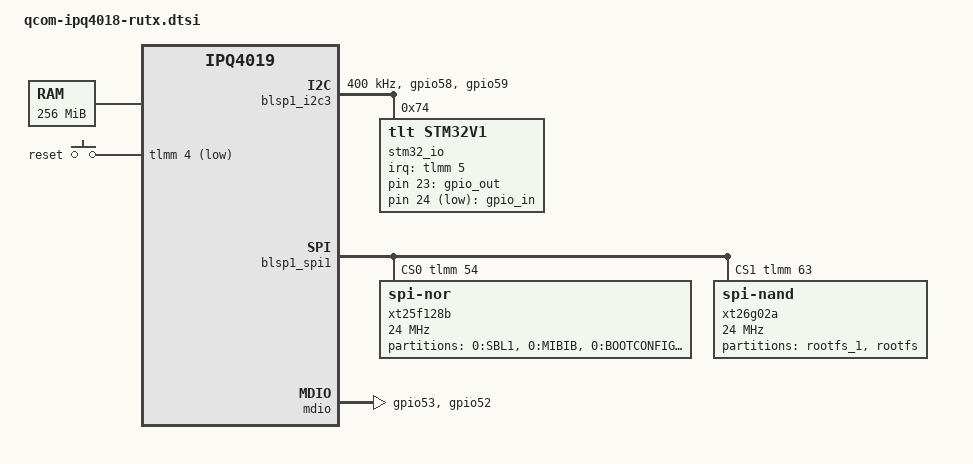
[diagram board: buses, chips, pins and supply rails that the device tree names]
// SPDX-License-Identifier: GPL-2.0-or-later OR MIT

#include "qcom-ipq4019-ap.dk01.1.dtsi"

#include <dt-bindings/gpio/gpio.h>
#include <dt-bindings/input/input.h>

/ {
	aliases {
		label-mac-device = &gmac0;
	};

	memory {
		device_type = "memory";
		reg = <0x80000000 0x10000000>;
	};

	soc {
		pinctrl@1000000 {
			mdio_pins: mdio_pinmux {
				mux_1 {
					pins = "gpio53";
					function = "mdio";
					bias-pull-up;
				};
				mux_2 {
					pins = "gpio52";
					function = "mdc";
					bias-pull-up;
				};
			};

			i2c_0_pins: i2c_0_pinmux {
				mux {
					pins = "gpio58", "gpio59";
					function = "blsp_i2c0";
					bias-disable;
				};
			};
		};

		keys {
			compatible = "gpio-keys";

			reset {
				label = "reset";
				gpios = <&tlmm 4 1>;
				linux,code = <KEY_RESTART>;
			};
		};

		gpio_export {
			compatible = "gpio-export";
			#size-cells = <0>;

			gpio_out {
				gpio-export,name = "gpio_out";
				gpio-export,output = <0>;
				gpio-export,direction_may_change = <0>;
				gpios = <&stm32_io 23 GPIO_ACTIVE_HIGH>;
			};

			gpio_in {
				gpio-export,name = "gpio_in";
				gpio-export,input = <0>;
				gpio-export,direction_may_change = <0>;
				gpios = <&stm32_io 24 GPIO_ACTIVE_LOW>;
			};
		};
	};
};

&blsp1_i2c3 {
	status = "okay";
	pinctrl-0 = <&i2c_0_pins>;
	pinctrl-names = "default";
	clock-frequency = <400000>;

	stm32_io: stm32@74 {
		compatible = "tlt,stm32v1";
		#gpio-cells = <2>;
		#interrupt-cells = <2>;
		gpio-controller;
		interrupt-controller;
		interrupt-parent = <&tlmm>;
		interrupts = <5 2>;
		reg = <0x74>;
	};
};

&blsp1_spi1 {
	cs-gpios = <&tlmm 54 0>, <&tlmm 63 0>;
	num-cs = <2>;

	xt25f128b@0 {
		/*
		 * Factory U-boot looks in 0:BOOTCONFIG partition for active
		 * partitions settings and mangles the partition config so
		 * 0:QSEE/0:QSEE_1, 0:CDT/0:CDT_1 and  0:APPSBL/0:APPSBL_1 pairs
		 * can be swaped. It isn't a problem but we never can be sure where
		 * OFW put factory images. "n25q128a11" is required for proper nor
		 * recognition in u-boot.
		 */
		compatible = "jedec,spi-nor", "n25q128a11";
		#address-cells = <1>;
		#size-cells = <1>;
		reg = <0>;
		spi-max-frequency = <24000000>;

		partitions {
			compatible = "fixed-partitions";
			#address-cells = <1>;
			#size-cells = <1>;

			partition@0 {
				label = "0:SBL1";
				reg = <0x0 0x40000>;
				read-only;
			};

			partition@40000 {
				label = "0:MIBIB";
				reg = <0x40000 0x20000>;
				read-only;
			};

			partition@60000 {
				label = "0:BOOTCONFIG";
				reg = <0x60000 0x20000>;
				read-only;
			};

			partition@80000 {
				label = "0:BOOTCONFIG1";
				reg = <0x80000 0x20000>;
				read-only;
			};

			partition@a0000 {
				label = "0:QSEE";
				reg = <0xa0000 0x60000>;
				read-only;
			};

			partition@100000 {
				label = "0:QSEE_1";
				reg = <0x100000 0x60000>;
				read-only;
			};

			partition@160000 {
				label = "0:CDT";
				reg = <0x160000 0x10000>;
				read-only;
			};

			partition@170000 {
				label = "0:CDT_1";
				reg = <0x170000 0x10000>;
				read-only;
			};

			partition@180000 {
				label = "0:DDRPARAMS";
				reg = <0x180000 0x10000>;
				read-only;
			};

			partition@190000 {
				label = "0:APPSBLENV";
				reg = <0x190000 0x10000>;
				read-only;
			};

			partition@1a0000 {
				label = "0:APPSBL";
				reg = <0x1a0000 0xa0000>;
				read-only;
			};

			partition@240000 {
				label = "0:APPSBL_1";
				reg = <0x240000 0xa0000>;
				read-only;
			};

			partition@2e0000 {
				label = "0:ART";
				reg = <0x2e0000 0x10000>;
				read-only;
			};

			config: partition@2f0000 {
				label = "0:CONFIG";
				reg = <0x2f0000 0x10000>;
				read-only;
			};

			partition@300000 {
				label = "0:CONFIG_RW";
				reg = <0x300000 0x10000>;
				read-only;
			};

			partition@310000 {
				label = "0:EVENTSLOG";
				reg = <0x310000 0x90000>;
				read-only;
			};
		};
	};

	xt26g02a@1 {
		/*
		 * Factory U-boot looks in 0:BOOTCONFIG partition for active
		 * partitions settings and mangles the partition config so
		 * rootfs/rootfs_1 pairs can be swaped.
		 * It isn't a problem but we never can be sure where OFW put
		 * factory images. "spinand,mt29f" value is required for proper
		 * nand recognition in u-boot.
		 */
		compatible = "spi-nand", "spinand,mt29f";
		#address-cells = <1>;
		#size-cells = <1>;
		reg = <1>;
		spi-max-frequency = <24000000>;

		partitions {
			compatible = "fixed-partitions";
			#address-cells = <1>;
			#size-cells = <1>;

			partition@0 {
				label = "rootfs_1";
				reg = <0x00000000 0x08000000>;
			};

			partition@8000000 {
				label = "rootfs";
				reg = <0x08000000 0x08000000>;
			};
		};
	};
};

&mdio {
	status = "okay";
	pinctrl-0 = <&mdio_pins>;
	pinctrl-names = "default";
	phy-reset-gpio = <&tlmm 62 0>;
};
